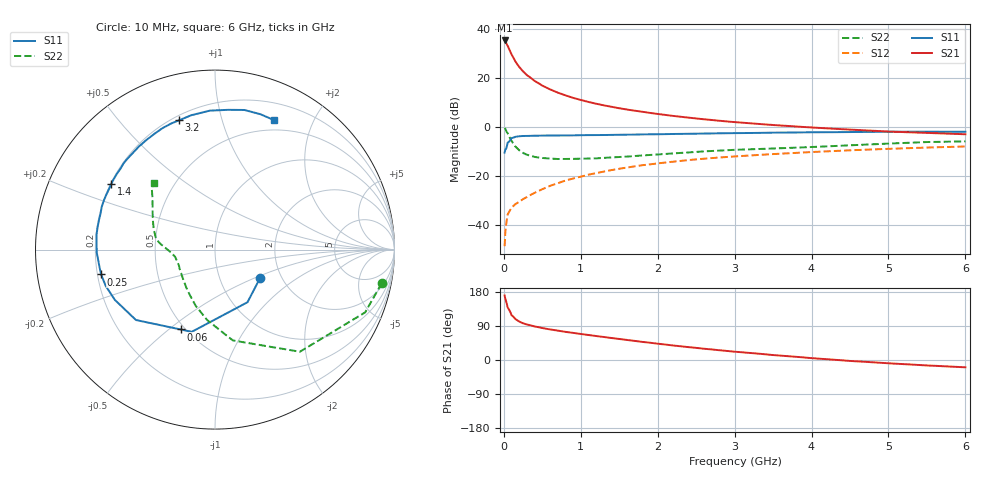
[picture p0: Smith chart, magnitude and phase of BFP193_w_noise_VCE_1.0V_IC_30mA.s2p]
! Infineon Technologies  Discrete & RF Semiconductors
! BFP193
! VCE =  1.0 V,  IC =  30 mA
! Common Emitter S-Parameters:  Jan 2017
# GHz  S  MA  R  50
!  f  S11  S21  S12  S22
! GHz  MAG  ANG  MAG  ANG  MAG  ANG  MAG  ANG
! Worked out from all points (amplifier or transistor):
!   77 points, 10 MHz to 6 GHz, reference 50 ohm
!   highest |S21| = 35.4 dB at 10 MHz (marker M1)
!   |S21| within 3 dB of that: start of sweep to 61.59 MHz
!   unconditionally stable (mu >= 1): 635.8 MHz to 2.755 GHz
!   at 130 MHz: K = 0.52, MSG = 30.1 dB, |S12| = -32.2 dB
!   at 2.2 GHz: K = 1.02, MAG = 8.4 dB, |S12| = -14.3 dB
!   at 6 GHz: K = 0.97, MSG = 2.5 dB, |S12| = -8.0 dB
!   lowest NFmin = 1.22 dB at 450 MHz
!   S11 on the Smith chart (normalised r, x): 10 MHz: 1.56, -0.54; 60 MHz: 0.47, -0.55; 250 MHz: 0.21, -0.10; 1.4 GHz: 0.20, +0.28; 3.2 GHz: 0.22, +0.74; 6 GHz: 0.38, +1.48
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0.01  0.2969 -32.2  58.73 170.2  0.0036 83.3  0.9477 -11.4
0.02  0.3446 -58.3  56.98 160.9  0.0073 82.7  0.9067 -22.7
0.05  0.4761 -105.8  45.47 138.5  0.016 59.0  0.7398 -50.3
0.06  0.4845 -113.3  42.11 135.6  0.0172 57.3  0.6841 -54.4
0.1  0.5898 -138.3  30.32 118.2  0.0219 52.4  0.5155 -78.9
0.15  0.6244 -153.3  21.77 108.0  0.0262 50.5  0.3952 -96.3
0.2  0.6415 -161.6  16.83 101.5  0.0291 51.9  0.3313 -108.9
0.25  0.6497 -167.7  13.64 96.9  0.0331 53.4  0.2923 -118.1
0.3  0.651 -171.9  11.47 93.7  0.0365 55.8  0.2684 -126.0
0.4  0.6588 -178.4  8.708 88.4  0.0445 58.7  0.2423 -137.0
0.5  0.661 176.8  6.99 84.3  0.0528 60.9  0.2301 -145.1
0.6  0.6653 172.7  5.857 80.7  0.0618 61.9  0.2245 -151.4
0.7  0.666 169.2  5.028 77.6  0.07 63.0  0.2195 -156.2
0.9  0.6686 162.4  3.922 71.5  0.0873 62.3  0.2209 -162.9
1.1  0.677 156.3  3.235 66.0  0.1046 61.4  0.2241 -167.9
1.4  0.6838 147.7  2.573 58.0  0.1302 58.6  0.2365 -173.7
2.1  0.7089 128.9  1.753 40.8  0.1858 50.0  0.2786 177.6
3.1  0.7454 107.3  1.216 20.3  0.2534 36.9  0.3422 166.7
3.2  0.748 105.5  1.183 18.6  0.2591 35.7  0.3465 165.3
4.1  0.7752 90.6  0.951 3.5  0.3096 24.9  0.3922 152.2
5.1  0.7942 76.8  0.791 -9.8  0.3586 13.4  0.4606 139.3
6  0.7929 65.7  0.705 -19.3  0.3965 3.5  0.5041 132.7
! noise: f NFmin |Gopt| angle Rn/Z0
0.45  1.22  0.33  -174  0.08
0.9  1.27  0.38  -173  0.07
1.9  1.89  0.57  -137  0.17
2.4  2.22  0.62  -121  0.38
